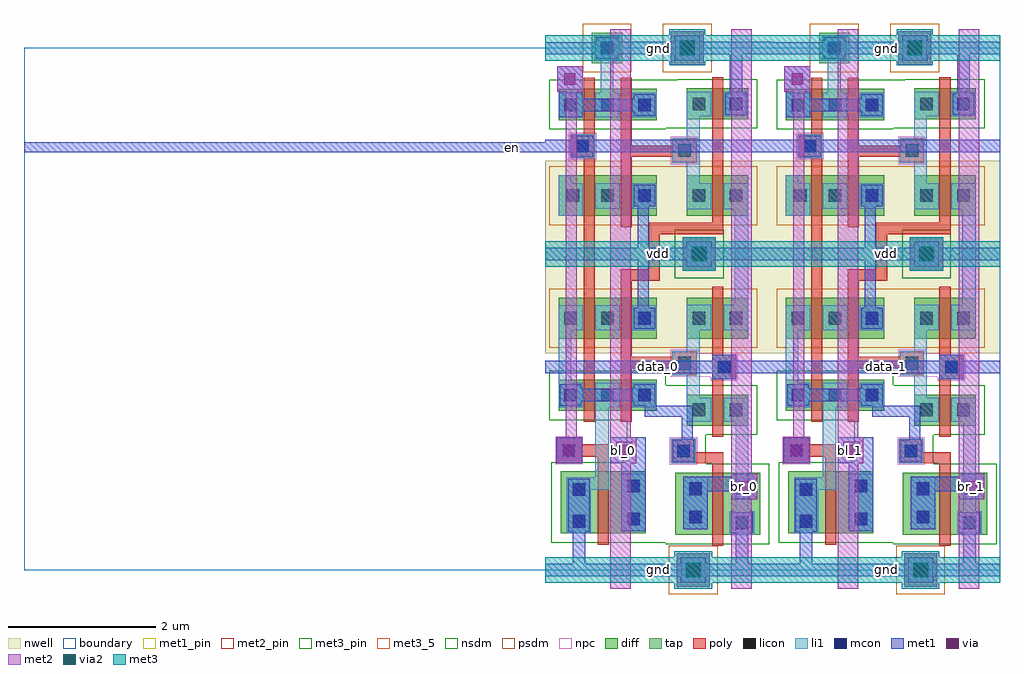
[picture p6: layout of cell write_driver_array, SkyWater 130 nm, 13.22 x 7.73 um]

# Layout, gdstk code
import gdstk
lib = gdstk.Library(unit=1e-6, precision=1e-09)
def R(c, l, rs):  # rectangles x0, y0, x1, y1
    for r in rs: c.add(gdstk.rectangle(r[:2], r[2:], *l))
def A(c, l, x, y, w, h, nx, ny, dx, dy):  # array of equal rectangles
    R(c, l, [(x+i*dx, y+j*dy, x+i*dx+w, y+j*dy+h) for i in range(nx) for j in range(ny)])
nwell = (64, 20)
diff = (65, 20)
tap = (65, 44)
poly = (66, 20)
licon = (66, 44)
li1 = (67, 20)
mcon = (67, 44)
met1_pin = (68, 16)
met1 = (68, 20)
via = (68, 44)
met2_pin = (69, 16)
met2 = (69, 20)
via2 = (69, 44)
met3_5 = (70, 5)
met3_pin = (70, 16)
met3 = (70, 20)
nsdm = (93, 44)
psdm = (94, 20)
npc = (95, 20)
boundary = (235, 4)

write_driver = lib.new_cell('write_driver')
R(write_driver, nwell, [(0,2.94,3.08,5.55)])
R(write_driver, diff, [(1.76,0.48,2.91,1.32), (0.21,0.5,1.36,1.34), (1.92,1.96,2.75,2.38), (0.18,2.16,1.51,2.58), (0.18,3.14,1.51,3.69), (1.92,3.14,2.75,3.69), (0.18,4.8,1.51,5.35), (1.92,4.8,2.75,5.35), (0.18,6.1,1.51,6.52), (1.92,6.11,2.75,6.53)])
R(write_driver, tap, [(1.8,-0.2,2.21,0.21), (1.88,4.08,2.29,4.49), (0.63,6.87,1.04,7.28), (1.72,6.87,2.13,7.28)])
R(write_driver, poly, [(2.26,0.33,2.41,1.45), (0.71,0.35,0.86,1.54), (1.71,1.45,2.41,1.6), (0.16,1.46,0.49,1.54), (0.16,1.54,0.86,1.71), (1.71,1.6,2.04,1.78), (0.16,1.71,0.49,1.79), (2.26,1.81,2.41,2.59), (0.52,2.01,0.67,5.58), (1.02,2.01,1.17,2.74), (2.26,2.59,2.59,2.92), (1.72,2.64,2.05,2.74), (1.02,2.74,2.05,2.89), (1.02,2.89,1.17,3.92), (1.72,2.89,2.05,2.97), (2.26,2.92,2.41,3.84), (1.02,3.92,1.55,4.08), (1.4,4.08,1.55,4.55), (1.4,4.55,2.41,4.71), (1.02,4.65,1.17,5.6), (2.26,4.71,2.41,6.68), (1.72,5.52,2.05,5.6), (0.34,5.58,0.67,5.91), (1.02,5.6,2.05,5.75), (1.02,5.75,1.17,6.67), (1.72,5.75,2.05,5.85), (0.52,5.91,0.67,6.67)])
A(write_driver, licon, 0.26, 2.29, 0.17, 0.17, 3, 2, 0.5, 1.04)
A(write_driver, licon, 0.26, 6.22, 0.17, 0.17, 3, 1, 0.5, 0)
R(write_driver, licon, [(1.92,-0.08,2.09,0.09), (2.58,0.56,2.75,0.73), (0.37,0.58,0.54,0.75), (1.11,0.61,1.28,0.78), (1.95,0.64,2.12,0.81), (0.37,1.01,0.54,1.18), (1.95,1.02,2.12,1.19), (1.11,1.06,1.28,1.23), (1.79,1.53,1.96,1.7), (0.24,1.54,0.41,1.71), (2,2.09,2.17,2.26), (2.5,2.09,2.67,2.26), (2.34,2.67,2.51,2.84), (1.8,2.72,1.97,2.89), (2,3.33,2.17,3.5), (2.5,3.33,2.67,3.5), (2,4.2,2.17,4.37), (0.29,4.99,0.46,5.16), (0.76,4.99,0.93,5.16), (1.26,4.99,1.43,5.16), (2,4.99,2.17,5.16), (2.5,4.99,2.67,5.16), (1.8,5.6,1.97,5.77), (0.42,5.66,0.59,5.83), (2,6.23,2.17,6.4), (2.5,6.23,2.67,6.4), (0.75,6.99,0.92,7.16), (1.84,6.99,2.01,7.16)])
A(write_driver, li1, 0.18, 2.21, 0.33, 0.33, 3, 2, 0.5, 3.93)
A(write_driver, li1, 0.18, 3.25, 0.33, 0.34, 3, 1, 0.5, 0)
R(write_driver, li1, [(1.84,-0.16,2.17,0.17), (2.5,0.48,2.83,0.8), (0.29,0.5,0.62,1.09), (1.03,0.53,1.36,1.31), (1.87,0.56,2.2,1.27), (2.58,0.8,2.75,2.01), (0.29,1.09,0.86,1.26), (0.68,1.26,0.86,2.21), (1.71,1.45,2.04,1.78), (0.16,1.46,0.49,1.79), (1.92,2.01,2.25,2.34), (2.42,2.01,2.75,2.34), (1.92,2.34,2.09,2.64), (0.18,2.54,0.35,3.25), (2.26,2.59,2.59,2.92), (1.72,2.64,2.09,2.97), (1.92,2.97,2.09,3.25), (1.92,3.25,2.25,3.6), (2.42,3.25,2.75,3.6), (2.57,3.6,2.75,4.89), (2.08,4.11,2.25,4.12), (1.92,4.12,2.25,4.45), (0.18,4.8,0.51,5.24), (1.92,4.89,2.25,5.24), (2.42,4.89,2.75,5.24), (0.68,4.9,1.01,5.24), (1.18,4.9,1.51,5.24), (0.18,5.24,0.35,5.35), (1.92,5.24,2.09,5.52), (1.72,5.52,2.09,5.85), (0.34,5.58,0.67,5.91), (1.92,5.85,2.09,6.15), (1.92,6.15,2.25,6.48), (2.42,6.15,2.75,6.48), (0.75,6.47,0.92,6.91), (1.86,6.9,2.03,6.91), (0.67,6.91,1,7.24), (1.76,6.91,2.09,7.24)])
R(write_driver, mcon, [(1.92,-0.08,2.09,0.09), (2.58,0.56,2.75,0.73), (0.37,0.58,0.54,0.75), (1.11,0.61,1.28,0.78), (1.95,0.64,2.12,0.81), (0.37,1.01,0.54,1.18), (1.95,1.02,2.12,1.19), (1.11,1.06,1.28,1.23), (1.79,1.53,1.96,1.7), (0.24,1.54,0.41,1.71), (0.26,2.29,0.43,2.46), (1.26,2.29,1.43,2.46), (2.34,2.67,2.51,2.84), (1.26,3.33,1.43,3.5), (2,4.2,2.17,4.37), (1.26,4.99,1.43,5.16), (0.42,5.66,0.59,5.83), (0.26,6.22,0.43,6.39), (1.26,6.22,1.43,6.39), (2.5,6.23,2.67,6.4), (0.75,6.99,0.92,7.16), (1.84,6.99,2.01,7.16)])
R(write_driver, met1_pin, [(2.34,2.69,2.51,2.82), (0.5,5.67,0.66,5.81)])
R(write_driver, met1, [(1.83,-0.17,2.18,-0.08), (0,-0.08,3.08,0.09), (0.37,0.09,0.54,0.52), (1.83,0.09,2.18,0.18), (2.58,0.09,2.75,0.5), (2.52,0.5,2.81,0.79), (0.31,0.52,0.6,1.24), (1.03,0.53,1.36,1.45), (1.87,0.56,2.2,1.07), (2.52,0.96,2.87,1.07), (1.87,1.07,2.87,1.27), (2.52,1.27,2.87,1.31), (0.15,1.45,0.5,1.8), (0.88,1.45,1.36,1.8), (1.73,1.47,2.02,1.76), (1.85,1.76,2,2.08), (1.35,2.08,2,2.23), (0.2,2.23,0.49,2.29), (1.2,2.23,1.49,2.29), (0.2,2.29,1.49,2.46), (0.2,2.46,0.49,2.52), (1.2,2.46,1.49,2.52), (2.26,2.59,2.59,2.67), (0,2.67,3.08,2.84), (0,2.67,3.08,2.84), (2.26,2.84,2.59,2.92), (1.2,3.27,1.49,3.56), (1.25,3.56,1.4,4.2), (1.91,4.11,2.26,4.2), (0,4.2,3.08,4.37), (1.25,4.37,1.4,4.93), (1.91,4.37,2.26,4.46), (1.2,4.93,1.49,5.22), (0.36,5.6,0.65,5.66), (0,5.66,3.08,5.83), (0,5.66,3.08,5.83), (0.36,5.83,0.65,5.89), (0.18,6.14,0.51,6.22), (1.2,6.16,1.49,6.22), (2.44,6.17,2.73,6.46), (0.18,6.22,1.49,6.39), (0.18,6.39,0.51,6.48), (1.2,6.39,1.49,6.45), (2.5,6.46,2.67,6.99), (0.16,6.48,0.51,6.83), (1.75,6.9,2.1,6.99), (0.69,6.93,0.98,6.99), (0,6.99,3.08,7.15), (0.69,7.15,3.08,7.16), (0.69,7.16,0.98,7.22), (1.75,7.16,2.1,7.25)])
R(write_driver, via, [(1.93,-0.07,2.08,0.08), (2.62,1.06,2.77,1.21), (0.25,1.55,0.4,1.7), (0.98,1.55,1.13,1.7), (2.01,4.21,2.16,4.36), (0.26,6.58,0.41,6.73), (1.85,7,2,7.15)])
R(write_driver, met2_pin, [(2.56,1.03,2.78,1.21), (0.96,1.56,1.18,1.74)])
R(write_driver, met2, [(0.88,-0.25,1.16,1.45), (2.52,-0.25,2.8,0.96), (1.78,-0.22,2.23,0.23), (2.52,0.96,2.87,1.31), (2.52,0.96,2.87,1.31), (2.52,1.31,2.8,7.33), (0.14,1.45,0.5,1.8), (0.88,1.45,1.23,1.8), (0.88,1.45,1.23,1.8), (0.28,1.8,0.43,6.48), (0.88,1.8,1.16,7.33), (1.86,4.06,2.31,4.51), (0.16,6.48,0.51,6.83), (1.7,6.85,2.15,7.3)])
R(write_driver, via2, [(1.905,-0.095,2.105,0.105), (1.985,4.185,2.185,4.385), (1.825,6.975,2.025,7.175)])
R(write_driver, met3_5, [(1.84,7.03,2.05,7.19)])
R(write_driver, met3_pin, [(1.92,-0.09,2.13,0.07), (1.97,4.22,2.14,4.34)])
R(write_driver, met3, [(1.75,-0.25,2.26,-0.17), (0,-0.17,3.08,0.18), (0,-0.17,3.08,0.18), (1.75,0.18,2.26,0.26), (1.86,4.06,2.31,4.11), (0,4.11,3.08,4.46), (0,4.11,3.08,4.46), (1.86,4.46,2.31,4.51), (1.68,6.84,2.17,6.9), (0,6.9,3.08,7.25), (0,6.9,3.08,7.25), (1.68,7.25,2.17,7.33)])
R(write_driver, nsdm, [(1.635,0.355,3.035,0.375), (0.085,0.375,3.035,1.445), (0.085,1.445,2.175,1.465), (1.105,1.465,2.175,1.835), (1.105,1.835,2.875,2.035), (0.055,2.035,2.875,2.505), (0.055,2.505,1.635,2.705), (1.755,3.955,2.415,4.615), (0.055,5.975,1.635,5.985), (0.055,5.985,2.875,6.645), (1.795,6.645,2.875,6.655)])
R(write_driver, psdm, [(1.675,-0.325,2.335,0.335), (0.055,3.015,2.875,3.815), (0.055,4.675,2.875,5.475), (0.505,6.745,1.165,7.405), (1.595,6.745,2.255,7.405)])
R(write_driver, npc, [(1.69,1.43,2.06,1.8), (0.14,1.44,0.51,1.81), (2.24,2.57,2.61,2.62), (1.7,2.62,2.61,2.94), (1.7,2.94,2.07,2.99), (1.7,5.5,2.07,5.87), (0.32,5.56,0.69,5.93)])
R(write_driver, boundary, [(0,0,3.08,7.08)])
write_driver.add(gdstk.Label('gnd', (1.945,7.11), layer=70, texttype=5))
write_driver.add(gdstk.Label('din', (2.425,2.755), layer=68, texttype=16))
write_driver.add(gdstk.Label('bl', (1.07,1.65), layer=69, texttype=16))
write_driver.add(gdstk.Label('br', (2.67,1.12), layer=69, texttype=16))
write_driver.add(gdstk.Label('en', (0.58,5.74), layer=68, texttype=16))
write_driver.add(gdstk.Label('vdd', (2.055,4.28), layer=70, texttype=16))
write_driver.add(gdstk.Label('gnd', (2.025,-0.01), layer=70, texttype=16))
write_driver.add(gdstk.Label('din', (1.54,2.755), layer=68, texttype=20))
write_driver.add(gdstk.Label('bl', (1.055,1.625), layer=69, texttype=20))
write_driver.add(gdstk.Label('br', (2.695,1.135), layer=69, texttype=20))
write_driver.add(gdstk.Label('en', (1.54,5.745), layer=68, texttype=20))
write_driver.add(gdstk.Label('vdd', (1.54,4.285), layer=70, texttype=20))
write_driver.add(gdstk.Label('gnd', (1.54,7.075), layer=70, texttype=20))
write_driver.add(gdstk.Label('gnd', (1.54,0.005), layer=70, texttype=20))

write_driver_array = lib.new_cell('write_driver_array')
R(write_driver_array, met1, [(7.06,2.67,10.14,2.84), (10.14,2.67,13.22,2.84), (0,5.66,13.22,5.8)])
R(write_driver_array, met2, [(9.58,0.96,9.93,1.31), (12.66,0.96,13.01,1.31), (7.94,1.45,8.29,1.8), (11.02,1.45,11.37,1.8)])
R(write_driver_array, met3, [(8.45,-0.145,8.75,0.155), (11.53,-0.145,11.83,0.155), (8.45,4.135,8.75,4.435), (11.53,4.135,11.83,4.435), (8.45,6.925,8.75,7.225), (11.53,6.925,11.83,7.225)])
R(write_driver_array, boundary, [(0,0,13.22,7.08)])
write_driver_array.add(gdstk.Reference(write_driver, (7.06,0)))
write_driver_array.add(gdstk.Reference(write_driver, (10.14,0)))
write_driver_array.add(gdstk.Label('data_0', (8.6,2.755), layer=68, texttype=20))
write_driver_array.add(gdstk.Label('bl_0', (8.115,1.625), layer=69, texttype=20))
write_driver_array.add(gdstk.Label('br_0', (9.755,1.135), layer=69, texttype=20))
write_driver_array.add(gdstk.Label('vdd', (11.68,4.285), layer=70, texttype=20))
write_driver_array.add(gdstk.Label('vdd', (8.6,4.285), layer=70, texttype=20))
write_driver_array.add(gdstk.Label('gnd', (8.6,7.075), layer=70, texttype=20))
write_driver_array.add(gdstk.Label('gnd', (11.68,7.075), layer=70, texttype=20))
write_driver_array.add(gdstk.Label('gnd', (8.6,0.005), layer=70, texttype=20))
write_driver_array.add(gdstk.Label('gnd', (11.68,0.005), layer=70, texttype=20))
write_driver_array.add(gdstk.Label('data_1', (11.68,2.755), layer=68, texttype=20))
write_driver_array.add(gdstk.Label('bl_1', (11.195,1.625), layer=69, texttype=20))
write_driver_array.add(gdstk.Label('br_1', (12.835,1.135), layer=69, texttype=20))
write_driver_array.add(gdstk.Label('en', (6.61,5.73), layer=68, texttype=20))

lib.write_gds('write_driver_array.gds')
